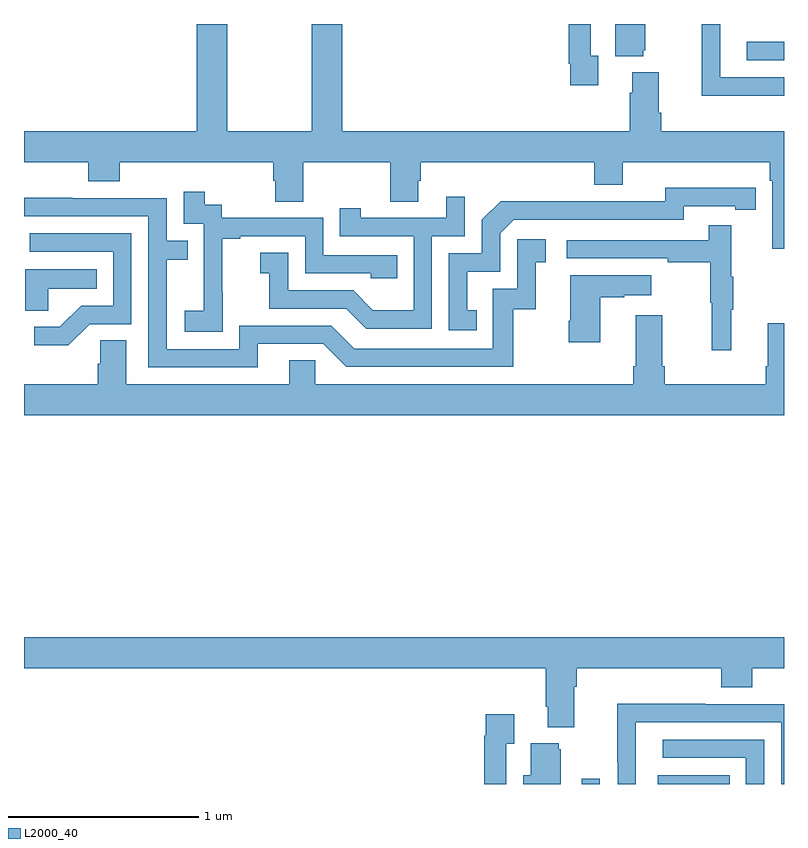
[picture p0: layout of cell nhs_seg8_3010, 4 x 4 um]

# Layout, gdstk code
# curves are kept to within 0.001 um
import gdstk
lib = gdstk.Library(unit=1e-6, precision=1e-09)
def R(c, l, rs):  # rectangles x0, y0, x1, y1
    for r in rs: c.add(gdstk.rectangle(r[:2], r[2:], *l))
def P(c, l, *ps):  # polygons
    for p in ps: c.add(gdstk.Polygon(p, *l))
L2000_40 = (2000, 40)

nhs_seg8_3010 = lib.new_cell('nhs_seg8_3010')
R(nhs_seg8_3010, L2000_40, [(301.935,1107.9,302.031,1107.928), (302.336,1107.9,302.714,1107.946), (302.805,1111.71,303,1111.806), (302.78,1111.898,303,1111.9)])
P(nhs_seg8_3010, L2000_40, [(303,1111.62),(302.664,1111.62),(302.664,1111.9),(302.568,1111.9),(302.568,1111.829),(302.566,1111.829),(302.566,1111.523),(303,1111.523)],
  [(302.258,1111.761),(302.269,1111.761),(302.269,1111.9),(302.072,1111.9),(302.072,1111.898),(302.111,1111.898),(302.111,1111.73),(302.258,1111.73)],
  [(300.674,1111.9),(300.514,1111.9),(300.514,1111.336),(300.069,1111.336),(300.069,1111.9),(299.909,1111.9),(299.909,1111.336),(299,1111.336),(299,1111.172),(299.339,1111.172),(299.339,1111.073),(299.504,1111.073),(299.504,1111.172),(300.311,1111.172),(300.311,1111.074),(300.323,1111.074),(300.323,1110.964),(300.471,1110.964),(300.471,1111.172),(300.928,1111.172),(300.928,1110.964),(301.075,1110.964),(301.075,1111.074),(301.088,1111.074),(301.088,1111.172),(302,1111.172),(302,1111.055),(302.152,1111.055),(302.152,1111.172),(302.924,1111.172),(302.924,1111.076),(302.937,1111.076),(302.937,1110.717),(303,1110.717),(303,1111.336),(302.354,1111.336),(302.354,1111.432),(302.341,1111.432),(302.341,1111.645),(302.201,1111.645),(302.201,1111.538),(302.189,1111.538),(302.189,1111.336),(300.674,1111.336)],
  [(302.023,1111.734),(301.983,1111.734),(301.983,1111.9),(301.867,1111.9),(301.867,1111.69),(301.875,1111.69),(301.875,1111.578),(302.023,1111.578)],
  [(301.382,1110.393),(301.333,1110.393),(301.333,1110.597),(301.506,1110.597),(301.506,1110.798),(301.578,1110.87),(302.472,1110.87),(302.472,1110.942),(302.744,1110.942),(302.744,1110.922),(302.852,1110.922),(302.852,1111.038),(302.376,1111.039),(302.376,1110.966),(301.916,1110.966),(301.916,1110.968),(301.508,1110.968),(301.41,1110.87),(301.41,1110.693),(301.236,1110.693),(301.236,1110.288),(301.382,1110.288)],
  [(300.045,1110.487),(300.044,1110.487),(300.044,1110.771),(300.139,1110.771),(300.139,1110.783),(300.48,1110.783),(300.48,1110.588),(300.825,1110.588),(300.825,1110.561),(300.965,1110.561),(300.965,1110.684),(300.576,1110.684),(300.576,1110.879),(300.042,1110.879),(300.042,1110.948),(299.95,1110.948),(299.95,1111.018),(299.841,1111.018),(299.841,1110.849),(299.946,1110.849),(299.946,1110.62),(299.945,1110.62),(299.945,1110.391),(299.847,1110.391),(299.847,1110.281),(300.045,1110.281)],
  [(301.146,1110.783),(301.32,1110.783),(301.32,1110.991),(301.223,1110.991),(301.223,1110.879),(300.772,1110.879),(300.772,1110.931),(300.661,1110.931),(300.661,1110.783),(301.05,1110.783),(301.05,1110.394),(300.836,1110.394),(300.732,1110.498),(300.39,1110.498),(300.39,1110.697),(300.243,1110.697),(300.243,1110.587),(300.292,1110.587),(300.292,1110.402),(300.695,1110.402),(300.8,1110.297),(301.146,1110.297)],
  [(300.229,1110.216),(300.576,1110.216),(300.696,1110.096),(301.576,1110.096),(301.576,1110.399),(301.694,1110.399),(301.694,1110.645),(301.747,1110.645),(301.747,1110.766),(301.596,1110.766),(301.596,1110.507),(301.467,1110.507),(301.467,1110.192),(300.738,1110.192),(300.618,1110.312),(300.132,1110.312),(300.132,1110.189),(299.751,1110.189),(299.751,1110.658),(299.861,1110.658),(299.861,1110.759),(299.751,1110.759),(299.751,1110.984),(299.255,1110.984),(299.255,1110.986),(299,1110.986),(299,1110.888),(299.655,1110.888),(299.655,1110.093),(300.229,1110.093)],
  [(302.723,1110.395),(302.734,1110.395),(302.734,1110.569),(302.723,1110.569),(302.723,1110.841),(302.605,1110.841),(302.605,1110.762),(301.857,1110.762),(301.857,1110.666),(302.389,1110.666),(302.389,1110.646),(302.613,1110.646),(302.613,1110.432),(302.62,1110.432),(302.62,1110.183),(302.723,1110.183)],
  [(299.346,1110.321),(299.565,1110.321),(299.565,1110.798),(299.031,1110.798),(299.031,1110.702),(299.469,1110.702),(299.469,1110.417),(299.3,1110.417),(299.189,1110.306),(299.055,1110.306),(299.055,1110.209),(299.233,1110.209)],
  [(299.127,1110.506),(299.384,1110.506),(299.384,1110.61),(299.006,1110.61),(299.006,1110.391),(299.127,1110.391)],
  [(302.032,1110.463),(302.159,1110.463),(302.159,1110.473),(302.302,1110.473),(302.302,1110.577),(301.874,1110.577),(301.874,1110.337),(301.867,1110.337),(301.867,1110.225),(302.032,1110.225)],
  [(303,1110.325),(302.915,1110.325),(302.915,1110.1),(302.903,1110.1),(302.903,1110.004),(302.372,1110.004),(302.372,1110.1),(302.359,1110.1),(302.359,1110.367),(302.219,1110.367),(302.219,1110.1),(302.207,1110.1),(302.207,1110.004),(300.534,1110.004),(300.534,1110.131),(300.395,1110.131),(300.395,1110.004),(299.539,1110.004),(299.539,1110.236),(299.4,1110.236),(299.4,1110.113),(299.387,1110.113),(299.387,1110.004),(299,1110.004),(299,1109.84),(303,1109.84)],
  [(301.897,1108.412),(301.91,1108.412),(301.91,1108.508),(302.669,1108.508),(302.669,1108.409),(302.834,1108.409),(302.834,1108.508),(303,1108.508),(303,1108.672),(299,1108.672),(299,1108.508),(301.745,1108.508),(301.745,1108.306),(301.757,1108.306),(301.757,1108.199),(301.897,1108.199)],
  [(302.22,1108.224),(302.985,1108.224),(302.985,1107.9),(303,1107.9),(303,1108.32),(302.585,1108.32),(302.585,1108.322),(302.122,1108.322),(302.122,1108.015),(302.124,1108.015),(302.124,1107.9),(302.22,1107.9)],
  [(301.539,1108.111),(301.579,1108.111),(301.579,1108.267),(301.431,1108.267),(301.431,1108.154),(301.423,1108.154),(301.423,1107.9),(301.539,1107.9)],
  [(302.895,1108.134),(302.361,1108.134),(302.361,1108.038),(302.799,1108.038),(302.799,1107.9),(302.895,1107.9)],
  [(301.825,1108.083),(301.814,1108.083),(301.814,1108.114),(301.667,1108.114),(301.667,1107.946),(301.628,1107.946),(301.628,1107.9),(301.825,1107.9)])

lib.write_gds('nhs_seg8_3010.gds')
